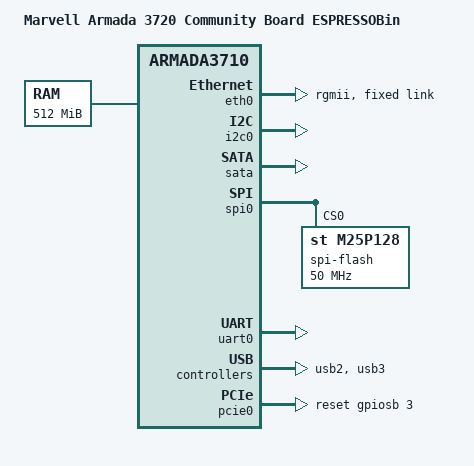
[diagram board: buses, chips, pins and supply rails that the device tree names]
/*
 * Device Tree file for Marvell Armada 3720 community board
 * (ESPRESSOBin)
 * Copyright (C) 2016 Marvell
 *
 * Gregory CLEMENT <gregory.clement@free-electrons.com>
 * Konstantin Porotchkin <kostap@marvell.com>
 *
 * This file is dual-licensed: you can use it either under the terms
 * of the GPL or the X11 license, at your option. Note that this dual
 * licensing only applies to this file, and not this project as a
 * whole.
 *
 *  a) This file is free software; you can redistribute it and/or
 *     modify it under the terms of the GNU General Public License as
 *     published by the Free Software Foundation; either version 2 of the
 *     License, or (at your option) any later version.
 *
 *     This file is distributed in the hope that it will be useful
 *     but WITHOUT ANY WARRANTY; without even the implied warranty of
 *     MERCHANTABILITY or FITNESS FOR A PARTICULAR PURPOSE.  See the
 *     GNU General Public License for more details.
 *
 * Or, alternatively
 *
 *  b) Permission is hereby granted, free of charge, to any person
 *     obtaining a copy of this software and associated documentation
 *     files (the "Software"), to deal in the Software without
 *     restriction, including without limitation the rights to use
 *     copy, modify, merge, publish, distribute, sublicense, and/or
 *     sell copies of the Software, and to permit persons to whom the
 *     Software is furnished to do so, subject to the following
 *     conditions:
 *
 *     The above copyright notice and this permission notice shall be
 *     included in all copies or substantial portions of the Software.
 *
 *     THE SOFTWARE IS PROVIDED , WITHOUT WARRANTY OF ANY KIND
 *     EXPRESS OR IMPLIED, INCLUDING BUT NOT LIMITED TO THE WARRANTIES
 *     OF MERCHANTABILITY, FITNESS FOR A PARTICULAR PURPOSE AND
 *     NONINFRINGEMENT. IN NO EVENT SHALL THE AUTHORS OR COPYRIGHT
 *     HOLDERS BE LIABLE FOR ANY CLAIM, DAMAGES OR OTHER LIABILITY
 *     WHETHER IN AN ACTION OF CONTRACT, TORT OR OTHERWISE, ARISING
 *     FROM, OUT OF OR IN CONNECTION WITH THE SOFTWARE OR THE USE OR
 *     OTHER DEALINGS IN THE SOFTWARE.
 */

/dts-v1/;

#include "armada-372x.dtsi"

/ {
	model = "Marvell Armada 3720 Community Board ESPRESSOBin";
	compatible = "marvell,armada-3720-espressobin", "marvell,armada3720", "marvell,armada3710";

	chosen {
		stdout-path = "serial0:115200n8";
	};

	aliases {
		ethernet0 = &eth0;
		i2c0 = &i2c0;
		spi0 = &spi0;
	};

	memory {
		device_type = "memory";
		reg = <0x00000000 0x00000000 0x00000000 0x20000000>;
	};
};

&comphy {
	max-lanes = <3>;
	phy0 {
		phy-type = <PHY_TYPE_PEX0>;
		phy-speed = <PHY_SPEED_2_5G>;
	};

	phy1 {
		phy-type = <PHY_TYPE_USB3_HOST0>;
		phy-speed = <PHY_SPEED_5G>;
	};

	phy2 {
		phy-type = <PHY_TYPE_SATA0>;
		phy-speed = <PHY_SPEED_5G>;
	};
};

&eth0 {
	status = "okay";
	pinctrl-names = "default";
	pinctrl-0 = <&rgmii_pins>, <&smi_pins>;
	phy-mode = "rgmii";
	phy_addr = <0x1>;
	fixed-link {
		speed = <1000>;
		full-duplex;
	};
};

&i2c0 {
	pinctrl-names = "default";
	pinctrl-0 = <&i2c1_pins>;
	status = "okay";
};

/* CON3 */
&sata {
	status = "okay";
};

&spi0 {
	status = "okay";
	pinctrl-names = "default";
	pinctrl-0 = <&spi_quad_pins>;

	spi-flash@0 {
		#address-cells = <1>;
		#size-cells = <1>;
		compatible = "st,m25p128", "jedec,spi-nor";
		reg = <0>; /* Chip select 0 */
		spi-max-frequency = <50000000>;
		m25p,fast-read;
	};
};

/* Exported on the micro USB connector CON32 through an FTDI */
&uart0 {
	pinctrl-names = "default";
	pinctrl-0 = <&uart1_pins>;
	status = "okay";
};

/* CON29 */
&usb2 {
	status = "okay";
};

/* CON31 */
&usb3 {
	status = "okay";
};

&pcie0 {
	pinctrl-names = "default";
	pinctrl-0 = <&pcie_pins>;
	reset-gpio = <&gpiosb 3 GPIO_ACTIVE_HIGH>;
	status = "okay";
};
